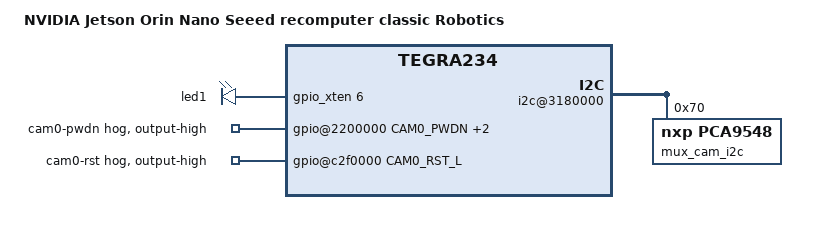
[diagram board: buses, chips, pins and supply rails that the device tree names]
// SPDX-License-Identifier: GPL-2.0-only
// SPDX-FileCopyrightText: Copyright (c) 2023, NVIDIA CORPORATION & AFFILIATES.  All rights reserved.

/dts-v1/;

#include "tegra234-j401-p3768-0000+p3767-recomputer-robo-common.dts"
//#include "tegra234-camera-quad-g300-overlay.dts"
// #include "tegra234-camera-quad-isx031c-overlay.dts"


#define CAM0_RST_L	TEGRA234_AON_GPIO(CC, 3)
#define CAM0_PWDN   TEGRA234_MAIN_GPIO(H, 6)
#define MFP9 TEGRA234_MAIN_GPIO(AC, 0)
#define MFP10  TEGRA234_MAIN_GPIO(Z, 7)

/ {
        compatible = "nvidia,p3768-0000+p3767-0001-super", "nvidia,p3767-0001", "nvidia,tegra234";
        model = "NVIDIA Jetson Orin Nano Seeed recomputer classic Robotics";

        leds {
                compatible = "gpio-leds";
                led1: led1 {
                        label = "led1";
                        gpios = <&gpio_xten 6 GPIO_ACTIVE_HIGH>;
                        default-state = "on";
                };
        };
        bus@0 {
			/* GPIO configuration */
			gpio@2200000 {
				camera-control-output-high {
					gpio-hog;
					output-high;
					gpios = <CAM0_PWDN 0 MFP9 0 MFP10 0>;
					label = "cam0-pwdn", "mfp9", "mfp10";
				};
			};

			/* I2C configuration */
			// i2c@3180000 {
			// 	status = "okay";
			// 	clock-frequency = <400000>;

			// 	#address-cells = <1>;
			// 	#size-cells = <0>;

			// 	eeprom@57 {
			// 			compatible = "atmel,24c02";
			// 			reg = <0x57>;
			// 			/*8 bit*/
			// 			address-width = <0x08>;
			// 			/*256 bytes */
			// 			size = <0x100>;
			// 	};

				// des: gmsl-deserializer@29 {
				// 	#address-cells = <1>;
				// 	#size-cells = <0>;


				// 	compatible = "maxim,max96712";
				// 	reset-gpios = <&gpio TEGRA234_MAIN_GPIO(H, 6) GPIO_ACTIVE_HIGH>;
				// 	reg = <0x29>;
				// 	status = "okay";
				// };
			// };

		gpio@c2f0000 {
			camera-control-output-high2 {
				gpio-hog;
				output-high;
				gpios = <CAM0_RST_L 0>;
				label = "cam0-rst";
			};
		};   

		i2c@3180000 {
			status = "okay";
			mux_cam_i2c: cam_i2cmux@70 {
				compatible = "nxp,pca9548";
				#address-cells = <1>;
				#size-cells = <0>;
				reg = <0x70>;
				idle-state = <0>;
				i2c@0{
					#address-cells = <1>;
					#size-cells = <0>;
					reg = <0>;
				};
			}; 
		};
            
     };
};


#define GMSL

#define GMSL_TEGRA_PORT                 2

#define GMSL_DES_PHY                    1
#define GMSL_DES_PHY_NUM_LANES          4

// #define GMSL_TEGRA_PORT                      1
// #define GMSL_DES_PHY                 0
// #define GMSL_DES_PHY_NUM_LANES               2 
#define GMSL_DES_PHY_LINK_FREQ          1250000000
//#define GMSL_DES_PHY_LINK_FREQ                750000000

#define GMSL_CAMERA_NUM                 4
#define GMSL_DES_MAX96712

// #define GMSL_MODE_3G
#define GMSL_MODE_6G

#define GMSL_SER_0_MAX9295A
#define GMSL_SER_1_MAX9295A
#define GMSL_SER_2_MAX9295A
#define GMSL_SER_3_MAX9295A

// #define GMSL_SER_0_MAX96717
// #define GMSL_SER_1_MAX96717
// #define GMSL_SER_2_MAX96717
// #define GMSL_SER_3_MAX96717

#define GMSL_CAM_0_TEGRA_OX03A
#define GMSL_CAM_1_TEGRA_OX03A
#define GMSL_CAM_2_TEGRA_OX03A
#define GMSL_CAM_3_TEGRA_OX03A


// #define GMSL_CAM_0_TEGRA_IMX219
// #define GMSL_TEGRA_LANE_POLARITY_SWAP

#define GMSL_CAM_0_DEFAULT_HEX_ADDR     0x1a
#define GMSL_CAM_1_DEFAULT_HEX_ADDR     0x1a
#define GMSL_CAM_2_DEFAULT_HEX_ADDR     0x1a
#define GMSL_CAM_3_DEFAULT_HEX_ADDR     0x1a

#define GMSL
#define GMSL_TEGRA_PLATFORM

// #if GMSL_TEGRA_PORT == 0 || GMSL_TEGRA_PORT == 1
// #define GMSL_DES_I2C_LABEL cam_i2c_0
// #elif GMSL_TEGRA_PORT == 2 || GMSL_TEGRA_PORT == 3
// #define GMSL_DES_I2C_LABEL cam_i2c_1
// #else
// #error
// #endif

#define GMSL_DES_I2C_LABEL  cam_i2c
// #define GMSL_DES_I2C_LABEL mux_cam_i2c

// #if GMSL_TEGRA_PORT == 1
#define GMSL_TEGRA_LANE_POLARITY_SWAP
// #endif

// &GMSL_DES_I2C_LABEL {
//         clock-frequency = <100000>;
// };
// #include "gmsl1x4/gmsl.dtsi"

